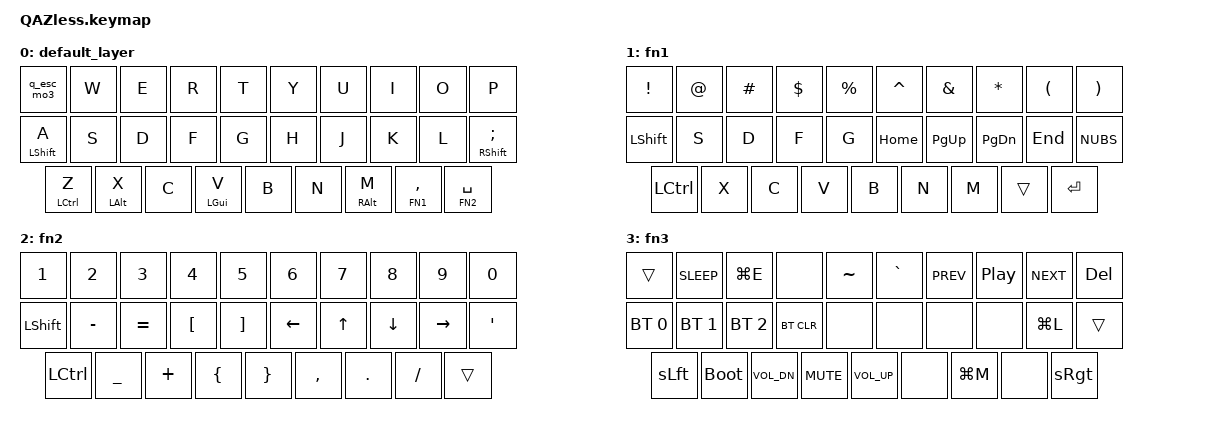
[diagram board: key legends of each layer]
#include <behaviors.dtsi>
#include <dt-bindings/zmk/keys.h>
#include <dt-bindings/zmk/bt.h>

#define DEFAULT 0
#define FN1 1
#define FN2 2
#define FN3 3

/ {

    behaviors { 
        td0: tap_dance_0 {
            compatible = "zmk,behavior-tap-dance";
            label = "TAP_DANCE_0";
            #binding-cells = <0>;
            tapping-term-ms = <185>;
            bindings = <&kp Q>, <&kp ESC>;
        };

/*
 *           td1: tap_dance_1 {
 *            compatible = "zmk,behavior-tap-dance";
 *            label = "TAP_DANCE_1";
 *            #binding-cells = <0>;
 *            tapping-term-ms = <185>;
 *            bindings = <&kp A>, <&kp TAB>;
 *        };
 *
 *        td2: tap_dance_2 {
 *            compatible = "zmk,behavior-tap-dance";
 *            label = "TAP_DANCE_2";
 *            #binding-cells = <0>;
 *            tapping-term-ms = <185>;
 *            bindings = <&kp Z>, <&kp LC(Z)>;
 *        };
 *
 *
 *       ht0: hold_tap_0 {
 *           compatible = "zmk,behavior-hold-tap";
 *           label = "Q_ESC_FN3";
 *           #binding-cells = <2>;
 *           tapping-term-ms = <185>;
 *           flavor = "tap-preferred";
 *           bindings = <&mo>, <&td0>;
 *       };    
 *
 *
 *         ht1: hold_tap_1 {
 *            compatible = "zmk,behavior-hold-tap";
 *            label = "Q_ESC_FN3";
 *            #binding-cells = <2>;
 *            tapping-term-ms = <185>;
 *            flavor = "tap-preferred";
 *            bindings = <&kp>, <&td1>;
 *        };   
 *
 *        ht2: hold_tap_2 {
 *            compatible = "zmk,behavior-hold-tap";
 *            label = "Q_ESC_FN3";
 *            #binding-cells = <2>;
 *           tapping-term-ms = <185>;
 *            flavor = "tap-preferred";
 *            bindings = <&kp>, <&td2>;
 *        };
 */

          q_esc_mo3: q_esc_mo3 {
            compatible = "zmk,behavior-tap-dance";
            label = "Q_ESC_MO3";
            #binding-cells = <0>;
            tapping-term-ms = <300>;
            bindings = 
                <&lt 3 Q>,
                <&kp ESC>;
          };
    };

    combos {
        compatible = "zmk,combos";
        combo_bkspc {
            timeout-ms = <65>;
            key-positions = <8 9>;
            bindings = <&kp BSPC>;
        };

    combo_escepe {
            timeout-ms = <65>;
            key-positions = <0 1>;
            bindings = <&kp ESC>;
        };

    combo_undo {
            timeout-ms = <65>;
            key-positions = <20 21>;
            bindings = <&kp LC(Z)>;
        };

    combo_tab {
            timeout-ms = <50>;
            key-positions = <10 11>;
            bindings = <&kp TAB>;
        };
    };

    macros {
        sLft: screen_left {
            label = "ScreeLeft";
            compatible = "zmk,behavior-macro";
            #binding-cells = <0>;
            bindings
                = <&macro_press &kp LGUI &kp LCTRL>
                , <&macro_tap &kp LEFT>
                , <&macro_release &kp LGUI &kp LCTRL>
                ;
        };

        sRgt: screen_right {
            label = "ScreeRight";
            compatible = "zmk,behavior-macro";
            #binding-cells = <0>;
            bindings
                 = <&macro_press &kp LGUI &kp LCTRL>
                , <&macro_tap &kp RIGHT>
                , <&macro_release &kp LGUI &kp LCTRL>
                ;
        };

       /* login: login {
        *   label = "ScreeRight";
        *   compatible = "zmk,behavior-macro";
        *   #binding-cells = <0>;
        *    bindings
        *        = <&macro_tap &kp LS(N)>
        *        ;
        *};
        */
    };

    keymap {
        compatible = "zmk,keymap";

        default_layer {
            bindings = <
                &q_esc_mo3   &kp W    &kp E    &kp R     &kp T     &kp Y     &kp U     &kp I     &kp O     &kp P
                &mt LSHIFT A  &kp S    &kp D    &kp F     &kp G     &kp H     &kp J     &kp K     &kp L     &mt RSHIFT SEMICOLON
                &mt LCTRL Z   &mt LALT X    &kp C    &mt LGUI V     &kp B     &kp N     &mt RALT M     &lt FN1 COMMA &lt FN2 SPACE
                >;
        };

        fn1 {
            bindings = <
                &kp EXCL    &kp AT    &kp HASH    &kp DOLLAR     &kp PERCENT     &kp CARET     &kp AMPS     &kp STAR     &kp LPAR     &kp RPAR
                &kp LSHIFT    &kp S    &kp D    &kp F     &kp G     &kp HOME     &kp PG_UP     &kp PG_DN     &kp END     &kp NUBS
                &kp LCTRL    &kp X    &kp C     &kp V    &kp B     &kp N     &kp M     &trans    &kp RET
                >;
        };

        fn2 {
            bindings = <
                &kp N1    &kp N2    &kp N3    &kp N4    &kp N5    &kp N6    &kp N7    &kp N8    &kp N9    &kp N0
                &kp LSHIFT    &kp MINUS    &kp EQUAL    &kp LBKT    &kp RBKT    &kp LEFT    &kp UP    &kp DOWN    &kp RIGHT    &kp SQT
                &kp LCTRL    &kp UNDER    &kp PLUS    &kp LBRC    &kp RBRC    &kp COMMA    &kp DOT    &kp SLASH    &trans
                >;
        };

        fn3 {
            bindings = <
                &trans   &kp C_SLEEP    &kp LG(E)    &none    &kp TILDE   &kp GRAVE    &kp C_PREV    &kp C_PP    &kp C_NEXT    &kp DEL
                &bt BT_SEL 0    &bt BT_SEL 1    &bt BT_SEL 2    &bt BT_CLR    &none    &none    &none    &none    &kp LG(L)    &trans
                &sLft    &bootloader    &kp C_VOL_DN    &kp C_MUTE    &kp C_VOL_UP    &none    &kp LG(M)    &none    &sRgt
                >;
        };
    };
};

